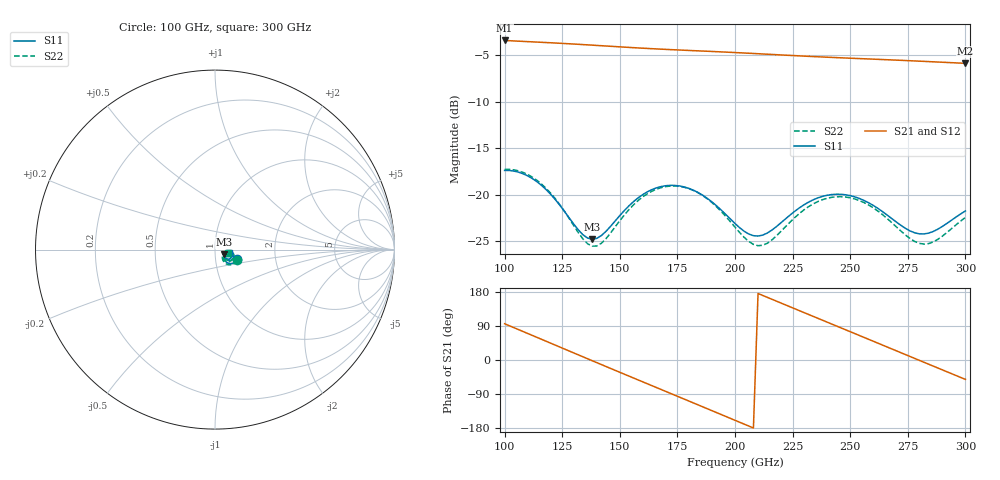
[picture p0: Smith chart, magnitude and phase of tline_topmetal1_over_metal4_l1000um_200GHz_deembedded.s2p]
! Created with skrf 2.2.0 (http://scikit-rf.org).
# GHz S DB R 50.0
! Port[1] = P1
! Port[2] = P2
!freq dBS11 angS11 dBS21 angS21 dBS12 angS12 dBS22 angS22
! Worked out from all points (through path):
!   101 points, 100 GHz to 300 GHz, reference 50 ohm
!   highest |S21| = -3.38 dB at 100 GHz (marker M1); lowest = -5.8 dB at 300 GHz (marker M2)
!   group delay of S21, straight-line fit = 7.03 ps
!   lowest |S11| = -24.8 dB at 138 GHz (marker M3), VSWR 1.12, Z = 55.4 - j2.83 ohm
!   |S11| at or under -10 dB: start of sweep to end of sweep
!   |S22| runs from -25.5 to -17.3 dB; largest |S21 - S12| = 7.7e-14
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100  -17.39 -22.5  -3.38 95.7  -3.38 95.7  -17.27 -25.0
108  -17.74 -33.9  -3.48 75.2  -3.48 75.2  -17.60 -37.1
116  -18.99 -43.4  -3.58 54.7  -3.58 54.7  -18.85 -47.7
126  -21.81 -47.8  -3.71 29.0  -3.71 29.0  -21.80 -54.0
134  -24.32 -37.1  -3.83 8.4  -3.83 8.4  -24.77 -44.4
138  -24.81 -26.3  -3.89 -1.8  -3.89 -1.8  -25.55 -32.4
142  -24.41 -15.8  -3.95 -12.0  -3.95 -12.0  -25.24 -19.7
152  -21.70 -5.5  -4.10 -37.5  -4.10 -37.5  -22.18 -7.0
160  -19.98 -9.7  -4.21 -57.8  -4.21 -57.8  -20.23 -11.4
168  -19.12 -18.0  -4.32 -78.0  -4.32 -78.0  -19.24 -20.5
182  -19.52 -34.1  -4.48 -113.4  -4.48 -113.4  -19.55 -38.4
192  -21.20 -41.3  -4.59 -138.8  -4.59 -138.8  -21.31 -47.5
200  -23.10 -39.7  -4.68 -159.1  -4.68 -159.1  -23.50 -47.4
212  -24.36 -20.5  -4.84 170.4  -4.84 170.4  -25.45 -25.6
222  -22.59 -9.9  -4.97 145.2  -4.97 145.2  -23.43 -11.3
234  -20.55 -14.1  -5.12 115.0  -5.12 115.0  -20.99 -15.5
242  -19.99 -21.4  -5.21 94.8  -5.21 94.8  -20.28 -23.5
250  -20.10 -29.2  -5.29 74.7  -5.29 74.7  -20.34 -32.4
268  -22.56 -38.2  -5.48 29.4  -5.48 29.4  -23.00 -44.2
282  -24.23 -24.1  -5.64 -5.9  -5.64 -5.9  -25.32 -28.5
290  -23.42 -14.8  -5.73 -26.0  -5.73 -26.0  -24.47 -16.2
300  -21.75 -13.1  -5.85 -51.1  -5.85 -51.1  -22.46 -13.1
